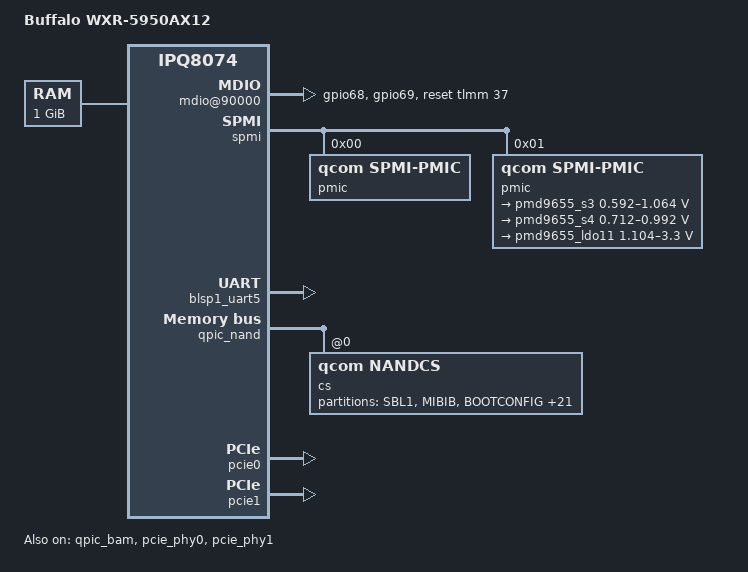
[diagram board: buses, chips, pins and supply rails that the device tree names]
// SPDX-License-Identifier: GPL-2.0-or-later OR MIT
/dts-v1/;

#include "ipq8074.dtsi"

#include <dt-bindings/gpio/gpio.h>
#include <dt-bindings/spmi/spmi.h>
#include <dt-bindings/clock/qcom,gcc-ipq8074.h>
#include <dt-bindings/interrupt-controller/arm-gic.h>

/ {
	#address-cells = <0x2>;
	#size-cells = <0x2>;
	model = "Buffalo WXR-5950AX12";
	compatible = "buffalo,wxr-5950ax12", "qcom,ipq807x-hk01", "qcom,ipq8074";
	interrupt-parent = <&intc>;

	aliases {
		serial0 = &blsp1_uart5;
	};

	chosen {
		/* use "ubi_rootfs volume in "ubi" partition as rootfs */
		bootargs = "ubi.block=0,1 root=/dev/ubiblock0_1 rootfstype=squashfs swiotlb=1";
		stdout-path = "serial0:115200n8";
	};

	memory {
		device_type = "memory";
		reg = <0x0 0x40000000 0x0 0x40000000>;
	};

	reserved-memory {
		#address-cells = <2>;
		#size-cells = <2>;
		ranges;

		nss@40000000 {
			reg = <0x0 0x40000000 0x0 0x01000000>;
			no-map;
		};

		tzapp@4a400000 {
			reg = <0x0 0x4a400000 0x0 0x00200000>;
			no-map;
		};

		uboot@4a600000 {
			reg = <0x0 0x4a600000 0x0 0x00400000>;
			no-map;
		};

		sbl@4aa00000 {
			reg = <0x0 0x4aa00000 0x0 0x00100000>;
			no-map;
		};

		smem_region: smem@4ab00000 {
			reg = <0x0 0x4ab00000 0x0 0x00100000>;
			no-map;
		};

		tz@4ac00000 {
			reg = <0x0 0x4ac00000 0x0 0x00400000>;
			no-map;
		};

		wcnss@4b000000 {
			reg = <0x0 0x4b000000 0x0 0x05f00000>;
			no-map;
		};

		q6_etr_dump@50f00000 {
			reg = <0x0 0x50f00000 0x0 0x00100000>;
			no-map;
		};

		wifi_dump@51000000 {
			reg = <0x0 0x51000000 0x0 0x00600000>;
			no-map;
		};

		wigig_dump@51200000 {
			reg = <0x0 0x51200000 0x0 0x00400000>;
			no-map;
		};
	};
};

&tlmm {
	mdio_pins: mdio-pinmux {
		mux {
			pins = "gpio68", "gpio69";
			drive-strength = <8>;
			bias-pull-up;
		};

		mdc {
			pins = "gpio68";
			function = "mdc";
		};

		mdio {
			pins = "gpio69";
			function = "mdio";
		};
	};
};

&soc {
	smp2p {
		compatible = "qcom,smp2p";
		qcom,smem = <435>, <428>;

		interrupt-parent =<&intc>;
		interrupts = <0 322 1>;

		qcom,ipc = <&apcs 8 9>;
		qcom,local-pid = <0>;
		qcom,remote-pid = <1>;

		wcss_smp2p_out: master-kernel {
			qcom,entry-name = "master-kernel";
			#qcom,smem-state-cells = <1>;
		};

		wcss_smp2p_in: slave-kernel {
			qcom,entry-name = "slave-kernel";
			interrupt-controller;
			#interrupt-cells = <2>;
		};
	};

	apcs: mailbox@b111000 {
		compatible = "qcom,msm8996-apcs-hmss-global", "syscon";
		reg = <0xb111000 0x1000>; /* stock dts has no reg */

		#mbox-cells = <1>;
	};

	tcsr_global: syscon@1945000 {
		compatible = "syscon";
		reg = <0x1945000 0xe000>;
	};

	qcom_q6v5_wcss@cd00000 {
		compatible = "qcom,ipq8074-wcss-pil";
		reg = <0xcd00000 0x4040>,
			  <0x4ab000 0x20>;
		reg-names = "qdsp6", "rmb";
		interrupts-extended = <&intc 0 325 1>,
				      <&wcss_smp2p_in 0 0>,
				      <&wcss_smp2p_in 1 0>,
				      <&wcss_smp2p_in 2 0>,
				      <&wcss_smp2p_in 3 0>;
		interrupt-names = "wdog",
				  "fatal",
				  "ready",
				  "handover",
				  "stop-ack";
		resets = <&gcc GCC_UBI0_AXI_ARES>,
			 <&gcc GCC_WCSS_BCR>,
			 <&gcc GCC_WCSS_Q6_BCR>;
		reset-names = "wcss_aon_reset", "wcss_reset", "wcss_q6_reset";
		qcom,halt-regs = <&tcsr_global 0xa000 0xd000 0x0>;

		qcom,smem-states = <&wcss_smp2p_out 0>,
				   <&wcss_smp2p_out 1>;
		qcom,smem-state-names = "shutdown", "stop";

		glink-edge {
			interrupts = <GIC_SPI 321 1>;
			qcom,remote-pid = <1>;
			mboxes = <&apcs 8>;

			rpm_requests {
				qcom,glink-channels = "IPCRTR";
			};
		};
	};

	mdio@90000 {
		#address-cells = <1>;
		#size-cells = <0>;

		compatible = "qcom,ipq40xx-mdio";
		reg = <0x90000 0x64>;
		reset-gpios = <&tlmm 37 GPIO_ACTIVE_HIGH>;

		pinctrl-0 = <&mdio_pins>;
		pinctrl-names = "default";
	};

	smem@4ab00000 {
		compatible = "qcom,smem";
		memory-region = <&smem_region>;
		hwlocks = <&tcsr_mutex 0>;
	};

	tcsr_mutex_block: syscon@1905000 {
		compatible = "syscon";
		reg = <0x1905000 0x8000>;
	};

	tcsr_mutex: hwlock@1905000 {
		compatible = "qcom,tcsr-mutex";
		syscon = <&tcsr_mutex_block 0 0x80>;

		#hwlock-cells = <1>;
	};

	spmi {
		compatible = "qcom,spmi-pmic-arb";
		reg = <0x200f000 0x1000>,
			  <0x2400000 0x800000>,
			  <0x2c00000 0x800000>,
			  <0x3800000 0x200000>,
			  <0x200a000 0x700>;
		reg-names = "core", "chnls", "obsrvr", "intr", "cnfg";

		interrupt-names = "periph_irq";
		interrupts = <0x0 0xbe 0x0>;

		qcom,ee = <0>;
		qcom,channel = <0>;

		#address-cells = <2>;
		#size-cells = <0>;

		interrupt-controller;
		#interrupt-cells = <4>;

		pmic@0 {
			compatible = "qcom,spmi-pmic";
			reg = <0x0 SPMI_USID>;
			#address-cells = <1>;
			#size-cells = <0>;
		};

		pmic@1 {
			compatible = "qcom,spmi-pmic";
			reg = <0x1 SPMI_USID>;
			#address-cells = <1>;
			#size-cells = <0>;

			regulator_s3 {
				compatible = "qcom,regulator";
				regulator-name = "pmd9655_s3";
				regulator-min-microvolt = <592000>;
				regulator-max-microvolt = <1064000>;
				regulator-always-on;
				regulator-boot-on;
			};

			regulator_s4 {
				compatible = "qcom,regulator";
				regulator-name = "pmd9655_s4";
				regulator-min-microvolt = <712000>;
				regulator-max-microvolt = <992000>;
				regulator-always-on;
				regulator-boot-on;
			};

			regulator_ldo11 {
				compatible = "qcom,regulator";
				regulator-name = "pmd9655_ldo11";
				regulator-min-microvolt = <1104000>;
				regulator-max-microvolt = <3300000>;
			};
		};
	};

	pmu {
		compatible = "arm,cortex-a7-pmu";
		interrupts = <GIC_PPI 7 (GIC_CPU_MASK_SIMPLE(4) |
					IRQ_TYPE_LEVEL_HIGH)>;
	};
};

&blsp1_uart5 {
	status = "okay";
};

&qpic_bam {
	status = "okay";
};

&qpic_nand {
	status = "okay";

	cs@0 {
		reg = <0>;
		compatible = "qcom,nandcs";

		nand-ecc-strength = <4>;
		nand-bus-width = <8>;
		nand-ecc-step-size = <512>;

		partitions {
			compatible = "fixed-partitions";
			#address-cells = <1>;
			#size-cells = <1>;

			partition@0 {
				label = "SBL1";
				reg = <0x00000000 0x00100000>;
				read-only;
			};

			partition@100000 {
				label = "MIBIB";
				reg = <0x00100000 0x00100000>;
				read-only;
			};

			partition@200000 {
				label = "BOOTCONFIG";
				reg = <0x00200000 0x00080000>;
				read-only;
			};

			partition@280000 {
				label = "BOOTCONFIG1";
				reg = <0x00280000 0x00080000>;
				read-only;
			};

			partition@300000 {
				label = "QSEE";
				reg = <0x00300000 0x00300000>;
				read-only;
			};

			partition@600000 {
				label = "QSEE_1";
				reg = <0x00600000 0x00300000>;
				read-only;
			};

			partition@900000 {
				label = "DEVCFG";
				reg = <0x00900000 0x00080000>;
				read-only;
			};

			partition@980000 {
				label = "DEVCFG_1";
				reg = <0x00980000 0x00080000>;
				read-only;
			};

			partition@a00000 {
				label = "APDP";
				reg = <0x00a00000 0x00080000>;
				read-only;
			};

			partition@a80000 {
				label = "APDP_1";
				reg = <0x00a80000 0x00080000>;
				read-only;
			};

			partition@b00000 {
				label = "RPM";
				reg = <0x00b00000 0x00080000>;
				read-only;
			};

			partition@b80000 {
				label = "RPM_1";
				reg = <0x00b80000 0x00080000>;
				read-only;
			};

			partition@c00000 {
				label = "CDT";
				reg = <0x00c00000 0x00080000>;
				read-only;
			};

			partition@c80000 {
				label = "CDT_1";
				reg = <0x00c80000 0x00080000>;
				read-only;
			};

			partition@d00000 {
				label = "APPSBLENV";
				reg = <0x00d00000 0x00080000>;
				read-only;
			};

			partition@d80000 {
				label = "APPSBL";
				reg = <0x00d80000 0x00100000>;
				read-only;
			};

			partition@e80000 {
				label = "APPSBL_1";
				reg = <0x00e80000 0x00100000>;
				read-only;
			};

			partition@f80000 {
				label = "ART";
				reg = <0x00f80000 0x00080000>;
				read-only;
			};

			partition@1000000 {
				label = "ART_1";
				reg = <0x01000000 0x00080000>;
				read-only;
			};

			partition@1080000 {
				label = "ORGDATA";
				reg = <0x01080000 0x00080000>;
				read-only;
			};

			partition@1100000 {
				label = "ORGDATA_1";
				reg = <0x01100000 0x00080000>;
				read-only;
			};

			partition@1180000 {
				label = "ubi";
				reg = <0x01180000 0x04000000>;
			};

			partition@5180000 {
				label = "rootfs_recover";
				reg = <0x05180000 0x04000000>;
			};

			partition@9180000 {
				label = "user_property";
				reg = <0x09180000 0x06e80000>;
				read-only;
			};
		};
	};
};

&pcie_phy0 {
	status = "okay";
};

&pcie0 {
	status = "okay";
};

&pcie_phy1 {
	status = "okay";
};

&pcie1 {
	status = "okay";
};
